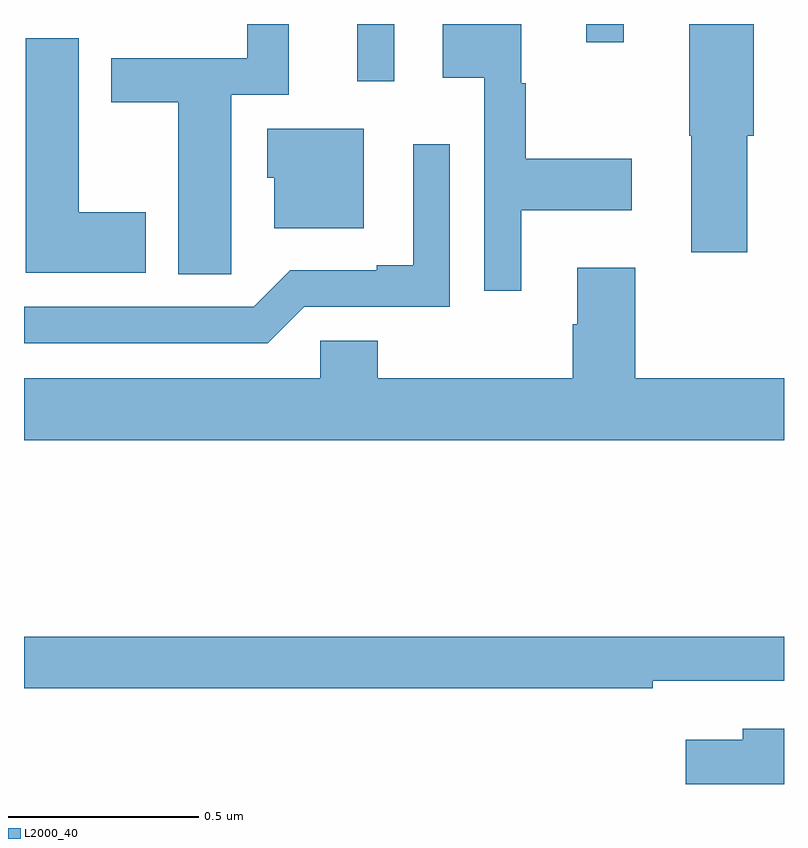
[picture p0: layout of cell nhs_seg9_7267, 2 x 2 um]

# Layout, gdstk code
import gdstk
lib = gdstk.Library(unit=1e-6, precision=1e-09)
def R(c, l, rs):  # rectangles x0, y0, x1, y1
    for r in rs: c.add(gdstk.rectangle(r[:2], r[2:], *l))
def P(c, l, *ps):  # polygons
    for p in ps: c.add(gdstk.Polygon(p, *l))
L2000_40 = (2000, 40)

nhs_seg9_7267 = lib.new_cell('nhs_seg9_7267')
R(nhs_seg9_7267, L2000_40, [(202.877,1213.35,202.974,1213.5), (203.48,1213.452,203.578,1213.5)])
P(nhs_seg9_7267, L2000_40, [(202.545,1212.952),(202.546,1212.952),(202.546,1213.314),(202.697,1213.314),(202.697,1213.5),(202.588,1213.5),(202.588,1213.41),(202.229,1213.41),(202.229,1213.294),(202.406,1213.294),(202.406,1212.841),(202.545,1212.841)],
  [(203.903,1213.206),(203.921,1213.206),(203.921,1213.5),(203.75,1213.5),(203.75,1213.206),(203.756,1213.206),(203.756,1212.9),(203.903,1212.9)],
  [(203.308,1213.01),(203.599,1213.01),(203.599,1213.145),(203.32,1213.145),(203.32,1213.344),(203.308,1213.344),(203.308,1213.5),(203.102,1213.5),(203.102,1213.358),(203.211,1213.358),(203.211,1212.798),(203.308,1212.798)],
  [(202.321,1213.005),(202.144,1213.005),(202.144,1213.463),(202.005,1213.463),(202.005,1213.355),(202.004,1213.355),(202.004,1212.845),(202.321,1212.845)],
  [(202.894,1213.225),(202.64,1213.225),(202.64,1213.095),(202.658,1213.095),(202.658,1212.962),(202.894,1212.962)],
  [(202.737,1212.756),(203.121,1212.756),(203.121,1213.183),(203.024,1213.183),(203.024,1212.865),(202.928,1212.865),(202.928,1212.852),(202.701,1212.852),(202.605,1212.756),(202,1212.756),(202,1212.66),(202.641,1212.66)],
  [(204,1212.568),(203.609,1212.568),(203.609,1212.859),(203.456,1212.859),(203.456,1212.71),(203.444,1212.71),(203.444,1212.568),(202.931,1212.568),(202.931,1212.666),(202.779,1212.666),(202.779,1212.568),(202,1212.568),(202,1212.404),(204,1212.404)],
  [(203.654,1211.772),(204,1211.772),(204,1211.888),(202,1211.888),(202,1211.752),(203.654,1211.752)],
  [(204,1211.646),(203.891,1211.646),(203.891,1211.617),(203.742,1211.617),(203.742,1211.5),(204,1211.5)])

lib.write_gds('nhs_seg9_7267.gds')
